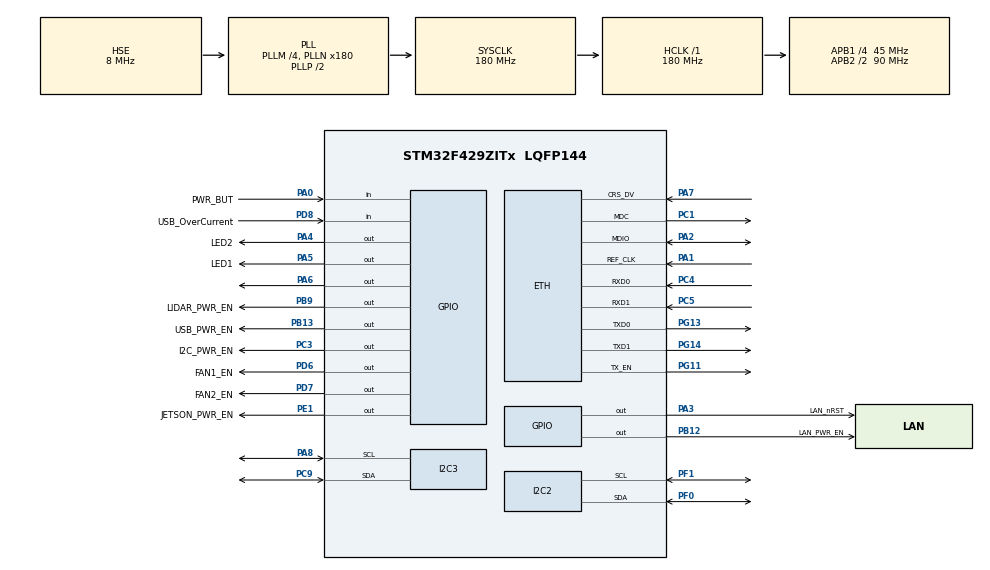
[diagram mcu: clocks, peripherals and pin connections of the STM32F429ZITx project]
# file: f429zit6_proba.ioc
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ETH.AutoNegotiation=ETH_AUTONEGOTIATION_ENABLE
ETH.MACAddr=00\:80\:E1\:01\:23\:45
ETH.MediaInterface=ETH_MEDIA_INTERFACE_RMII
ETH.PHY_Name_RMII=LAN8742A_PHY_ADDRESS
ETH.PhyAddress=0
I2C3.Analog_Filter=I2C_ANALOGFILTER_DISABLE
LWIP.GATEWAY_ADDRESS=192.168.100.001
LWIP.IP_ADDRESS=192.168.100.050
LWIP.LWIP_DHCP=0
LWIP.LWIP_HTTPD=0
LWIP.MEMP_NUM_TCP_SEG=24
LWIP.NETMASK_ADDRESS=255.255.255.000
LWIP.TCP_MSS=460
LWIP.TCP_SND_BUF=1840
LWIP.TCP_WND=2048
LWIP.Version=v2.1.2_Cube
Mcu.Family=STM32F4
Mcu.Name=STM32F429ZITx
Mcu.Package=LQFP144
NVIC.PriorityGroup=NVIC_PRIORITYGROUP_4
PA0/WKUP.GPIO_Label=PWR_BUT
PA0/WKUP.Signal=GPIO_Input
PA1.Mode=RMII
PA1.Signal=ETH_REF_CLK
PA13.Mode=Trace_Asynchronous_SW
PA13.Signal=SYS_JTMS-SWDIO
PA14.Mode=Trace_Asynchronous_SW
PA14.Signal=SYS_JTCK-SWCLK
PA2.Mode=RMII
PA2.Signal=ETH_MDIO
PA3.GPIO_Label=LAN_nRST
PA3.GPIO_ModeDefaultOutputPP=GPIO_MODE_OUTPUT_PP
PA3.GPIO_PuPd=GPIO_NOPULL
PA3.GPIO_Speed=GPIO_SPEED_FREQ_HIGH
PA3.PinState=GPIO_PIN_RESET
PA3.Signal=GPIO_Output
PA4.GPIO_Label=LED2
PA4.Signal=GPIO_Output
PA5.GPIO_Label=LED1
PA5.Signal=GPIO_Output
PA6.Signal=GPIO_Output
PA7.Mode=RMII
PA7.Signal=ETH_CRS_DV
PA8.Mode=I2C
PA8.Signal=I2C3_SCL
PB12.GPIO_Label=LAN_PWR_EN
PB12.Signal=GPIO_Output
PB13.GPIO_Label=USB_PWR_EN
PB13.Signal=GPIO_Output
PB3.Mode=Trace_Asynchronous_SW
PB3.Signal=SYS_JTDO-SWO
PB9.GPIO_Label=LIDAR_PWR_EN
PB9.Signal=GPIO_Output
PC1.Mode=RMII
PC1.Signal=ETH_MDC
PC3.GPIO_Label=I2C_PWR_EN
PC3.Signal=GPIO_Output
PC4.Mode=RMII
PC4.Signal=ETH_RXD0
PC5.Mode=RMII
PC5.Signal=ETH_RXD1
PC9.Mode=I2C
PC9.Signal=I2C3_SDA
PD6.GPIO_Label=FAN1_EN
PD6.Signal=GPIO_Output
PD7.GPIO_Label=FAN2_EN
PD7.Signal=GPIO_Output
PD8.GPIO_Label=USB_OverCurrent
PD8.GPIO_PuPd=GPIO_PULLUP
PD8.Signal=GPIO_Input
PE1.GPIO_Label=JETSON_PWR_EN
PE1.Signal=GPIO_Output
PF0.Mode=I2C
PF0.Signal=I2C2_SDA
PF1.Mode=I2C
PF1.Signal=I2C2_SCL
PG11.Mode=RMII
PG11.Signal=ETH_TX_EN
PG13.Mode=RMII
PG13.Signal=ETH_TXD0
PG14.Mode=RMII
PG14.Signal=ETH_TXD1
PH0/OSC_IN.Mode=HSE-External-Oscillator
PH0/OSC_IN.Signal=RCC_OSC_IN
PH1/OSC_OUT.Mode=HSE-External-Oscillator
PH1/OSC_OUT.Signal=RCC_OSC_OUT
ProjectManager.HeapSize=0x2000
ProjectManager.StackSize=0x4000
ProjectManager.TargetToolchain=STM32CubeIDE
RCC.48MHZClocksFreq_Value=90000000
RCC.AHBFreq_Value=180000000
RCC.APB1CLKDivider=RCC_HCLK_DIV4
RCC.APB1Freq_Value=45000000
RCC.APB1TimFreq_Value=90000000
RCC.APB2CLKDivider=RCC_HCLK_DIV2
RCC.APB2Freq_Value=90000000
RCC.APB2TimFreq_Value=180000000
RCC.CortexFreq_Value=180000000
RCC.HCLKFreq_Value=180000000
RCC.HSE_VALUE=8000000
RCC.HSI_VALUE=16000000
RCC.LSE_VALUE=32768
RCC.PLLM=4
RCC.PLLN=180
RCC.PLLSourceVirtual=RCC_PLLSOURCE_HSE
RCC.SYSCLKFreq_VALUE=180000000
RCC.SYSCLKSource=RCC_SYSCLKSOURCE_PLLCLK
RCC.VCOOutputFreq_Value=360000000
VP_LWIP_VS_Enabled.Mode=Enabled
board=custom

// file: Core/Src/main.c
/* USER CODE BEGIN Header */
/**
  ******************************************************************************
  * @file           : main.c
  * @brief          : Main program body
  ******************************************************************************
  * @attention
  *
  * <h2><center>&copy; Copyright (c) 2021 STMicroelectronics.
  * All rights reserved.</center></h2>
  *
  * This software component is licensed by ST under BSD 3-Clause license,
  * the "License"; You may not use this file except in compliance with the
  * License. You may obtain a copy of the License at:
  *                        opensource.org/licenses/BSD-3-Clause
  *
  ******************************************************************************
  */
/* USER CODE END Header */
#include "main.h"
#include "lwip.h"

/* USER CODE BEGIN Includes */
#include "lwip/apps/httpd.h"
/* USER CODE END Includes */

I2C_HandleTypeDef hi2c2;
I2C_HandleTypeDef hi2c3;

/* USER CODE BEGIN PV */

extern struct netif gnetif;

/* USER CODE END PV */

void SystemClock_Config(void);
static void MX_GPIO_Init(void);
static void MX_I2C3_Init(void);
static void MX_I2C2_Init(void);

int main(void)
{
  /* USER CODE BEGIN 1 */

	uint8_t i2c_Buf[16] = {0};

  /* USER CODE END 1 */

  /* MCU Configuration--------------------------------------------------------*/

  /* Reset of all peripherals, Initializes the Flash interface and the Systick. */
  HAL_Init();

  /* Configure the system clock */
  SystemClock_Config();

  /* Initialize all configured peripherals */
  MX_GPIO_Init();
  //MX_LWIP_Init();
  MX_I2C3_Init();
  MX_I2C2_Init();
  /* USER CODE BEGIN 2 */

  //****************************************************
  //Работа с I2C.
  //Включение питания разъемов I2C_IMU и I2C.
  HAL_GPIO_WritePin(I2C_PWR_EN_GPIO_Port, I2C_PWR_EN_Pin, SET);
  HAL_Delay(100);

  I2C_Init(I2C3); //иннициализация I2C_IMU(I2C3).
  I2C_Init(I2C2); //иннициализация I2C.
  //****************************************************
  //Работа с Ethernet.
  //Включение питания Ethernet.
  HAL_GPIO_WritePin(LAN_PWR_EN_GPIO_Port, LAN_PWR_EN_Pin, SET);
  HAL_Delay(100);

  //Сброс LAN8742A.
  HAL_GPIO_WritePin(LAN_nRST_GPIO_Port, LAN_nRST_Pin, RESET);
  HAL_Delay(500);
  HAL_GPIO_WritePin(LAN_nRST_GPIO_Port, LAN_nRST_Pin, SET);
  HAL_Delay(500);

  MX_LWIP_Init();//инициализация LwIP.
  // httpd_init();  //
  //****************************************************
  //Управление питанием JETSON.
  HAL_GPIO_WritePin(JETSON_PWR_EN_GPIO_Port, JETSON_PWR_EN_Pin, SET);

  //****************************************************
   //Управление питанием LIDAR.
   HAL_GPIO_WritePin(LIDAR_PWR_EN_GPIO_Port, LIDAR_PWR_EN_Pin, SET);

  /* USER CODE END 2 */

  /* Infinite loop */
  while (1)
  {

    /* USER CODE BEGIN 3 */
	//********************************************************************************
	HAL_Delay(50);

	//********************************************
	//
	//HAL_GPIO_TogglePin(JETSON_PWR_EN_GPIO_Port, JETSON_PWR_EN_Pin);

	//********************************************
	//проверка работы светодиодов.и
	//HAL_GPIO_TogglePin(LED2_GPIO_Port, LED2_Pin);
	HAL_GPIO_TogglePin(LED1_GPIO_Port, LED1_Pin);

	//********************************************
	//Проверка работы портов I2C.
	I2C_StartAndSendDeviceAddr(I2C3, (0x39 << 1));
	I2C_Stop(I2C3);

	I2C_StartAndSendDeviceAddr(I2C2, (0x39 << 1));
	I2C_Stop(I2C2);
	//********************************************
	//Управление вентиляторами.
	HAL_GPIO_TogglePin(FAN1_EN_GPIO_Port, FAN1_EN_Pin);
	HAL_GPIO_TogglePin(FAN2_EN_GPIO_Port, FAN2_EN_Pin);
	//********************************************
	//Управление светодиодом PWR.
	//HAL_GPIO_TogglePin(PWR_BUT_LED_GPIO_Port, PWR_BUT_LED_Pin);

	if(!HAL_GPIO_ReadPin(PWR_BUT_GPIO_Port, PWR_BUT_Pin)) HAL_GPIO_WritePin(LED2_GPIO_Port, LED2_Pin, SET);
	else 												  HAL_GPIO_WritePin(LED2_GPIO_Port, LED2_Pin, RESET);
	//****************************************************
   //Управление питанием LIDAR.
   if(Blink(INTERVAL_1000_mS)) HAL_GPIO_WritePin(LIDAR_PWR_EN_GPIO_Port, LIDAR_PWR_EN_Pin, SET);
   else						   HAL_GPIO_WritePin(LIDAR_PWR_EN_GPIO_Port, LIDAR_PWR_EN_Pin, RESET);

   //****************************************************
	//Работа с LWIP.
	MX_LWIP_Process();

	//********************************************************************************
  }
  /* USER CODE END 3 */
}

void SystemClock_Config(void)
{
  RCC_OscInitTypeDef RCC_OscInitStruct = {0};
  RCC_ClkInitTypeDef RCC_ClkInitStruct = {0};

  /** Configure the main internal regulator output voltage
  */
  __HAL_RCC_PWR_CLK_ENABLE();
  __HAL_PWR_VOLTAGESCALING_CONFIG(PWR_REGULATOR_VOLTAGE_SCALE1);
  /** Initializes the RCC Oscillators according to the specified parameters
  * in the RCC_OscInitTypeDef structure.
  */
  RCC_OscInitStruct.OscillatorType = RCC_OSCILLATORTYPE_HSE;
  RCC_OscInitStruct.HSEState = RCC_HSE_ON;
  RCC_OscInitStruct.PLL.PLLState = RCC_PLL_ON;
  RCC_OscInitStruct.PLL.PLLSource = RCC_PLLSOURCE_HSE;
  RCC_OscInitStruct.PLL.PLLM = 4;
  RCC_OscInitStruct.PLL.PLLN = 180;
  RCC_OscInitStruct.PLL.PLLP = RCC_PLLP_DIV2;
  RCC_OscInitStruct.PLL.PLLQ = 4;
  if (HAL_RCC_OscConfig(&RCC_OscInitStruct) != HAL_OK)
  {
    Error_Handler();
  }
  /** Activate the Over-Drive mode
  */
  if (HAL_PWREx_EnableOverDrive() != HAL_OK)
  {
    Error_Handler();
  }
  /** Initializes the CPU, AHB and APB buses clocks
  */
  RCC_ClkInitStruct.ClockType = RCC_CLOCKTYPE_HCLK|RCC_CLOCKTYPE_SYSCLK
                              |RCC_CLOCKTYPE_PCLK1|RCC_CLOCKTYPE_PCLK2;
  RCC_ClkInitStruct.SYSCLKSource = RCC_SYSCLKSOURCE_PLLCLK;
  RCC_ClkInitStruct.AHBCLKDivider = RCC_SYSCLK_DIV1;
  RCC_ClkInitStruct.APB1CLKDivider = RCC_HCLK_DIV4;
  RCC_ClkInitStruct.APB2CLKDivider = RCC_HCLK_DIV2;

  if (HAL_RCC_ClockConfig(&RCC_ClkInitStruct, FLASH_LATENCY_5) != HAL_OK)
  {
    Error_Handler();
  }
}

static void MX_I2C2_Init(void)
{

  hi2c2.Instance = I2C2;
  hi2c2.Init.ClockSpeed = 100000;
  hi2c2.Init.DutyCycle = I2C_DUTYCYCLE_2;
  hi2c2.Init.OwnAddress1 = 0;
  hi2c2.Init.AddressingMode = I2C_ADDRESSINGMODE_7BIT;
  hi2c2.Init.DualAddressMode = I2C_DUALADDRESS_DISABLE;
  hi2c2.Init.OwnAddress2 = 0;
  hi2c2.Init.GeneralCallMode = I2C_GENERALCALL_DISABLE;
  hi2c2.Init.NoStretchMode = I2C_NOSTRETCH_DISABLE;
  if (HAL_I2C_Init(&hi2c2) != HAL_OK)
  {
    Error_Handler();
  }
  /** Configure Analogue filter
  */
  if (HAL_I2CEx_ConfigAnalogFilter(&hi2c2, I2C_ANALOGFILTER_ENABLE) != HAL_OK)
  {
    Error_Handler();
  }
  /** Configure Digital filter
  */
  if (HAL_I2CEx_ConfigDigitalFilter(&hi2c2, 0) != HAL_OK)
  {
    Error_Handler();
  }

}

static void MX_I2C3_Init(void)
{

  hi2c3.Instance = I2C3;
  hi2c3.Init.ClockSpeed = 100000;
  hi2c3.Init.DutyCycle = I2C_DUTYCYCLE_2;
  hi2c3.Init.OwnAddress1 = 0;
  hi2c3.Init.AddressingMode = I2C_ADDRESSINGMODE_7BIT;
  hi2c3.Init.DualAddressMode = I2C_DUALADDRESS_DISABLE;
  hi2c3.Init.OwnAddress2 = 0;
  hi2c3.Init.GeneralCallMode = I2C_GENERALCALL_DISABLE;
  hi2c3.Init.NoStretchMode = I2C_NOSTRETCH_DISABLE;
  if (HAL_I2C_Init(&hi2c3) != HAL_OK)
  {
    Error_Handler();
  }
  /** Configure Analogue filter
  */
  if (HAL_I2CEx_ConfigAnalogFilter(&hi2c3, I2C_ANALOGFILTER_DISABLE) != HAL_OK)
  {
    Error_Handler();
  }
  /** Configure Digital filter
  */
  if (HAL_I2CEx_ConfigDigitalFilter(&hi2c3, 0) != HAL_OK)
  {
    Error_Handler();
  }

}

static void MX_GPIO_Init(void)
{
  GPIO_InitTypeDef GPIO_InitStruct = {0};

  /* GPIO Ports Clock Enable */
  __HAL_RCC_GPIOF_CLK_ENABLE();
  __HAL_RCC_GPIOH_CLK_ENABLE();
  __HAL_RCC_GPIOC_CLK_ENABLE();
  __HAL_RCC_GPIOA_CLK_ENABLE();
  __HAL_RCC_GPIOB_CLK_ENABLE();
  __HAL_RCC_GPIOD_CLK_ENABLE();
  __HAL_RCC_GPIOG_CLK_ENABLE();
  __HAL_RCC_GPIOE_CLK_ENABLE();

  /*Configure GPIO pin Output Level */
  HAL_GPIO_WritePin(I2C_PWR_EN_GPIO_Port, I2C_PWR_EN_Pin, GPIO_PIN_RESET);

  /*Configure GPIO pin Output Level */
  HAL_GPIO_WritePin(GPIOA, LAN_nRST_Pin|LED2_Pin|LED1_Pin|GPIO_PIN_6, GPIO_PIN_RESET);

  /*Configure GPIO pin Output Level */
  HAL_GPIO_WritePin(GPIOB, LAN_PWR_EN_Pin|USB_PWR_EN_Pin|LIDAR_PWR_EN_Pin, GPIO_PIN_RESET);

  /*Configure GPIO pin Output Level */
  HAL_GPIO_WritePin(GPIOD, FAN1_EN_Pin|FAN2_EN_Pin, GPIO_PIN_RESET);

  /*Configure GPIO pin Output Level */
  HAL_GPIO_WritePin(JETSON_PWR_EN_GPIO_Port, JETSON_PWR_EN_Pin, GPIO_PIN_RESET);

  /*Configure GPIO pin : I2C_PWR_EN_Pin */
  GPIO_InitStruct.Pin = I2C_PWR_EN_Pin;
  GPIO_InitStruct.Mode = GPIO_MODE_OUTPUT_PP;
  GPIO_InitStruct.Pull = GPIO_NOPULL;
  GPIO_InitStruct.Speed = GPIO_SPEED_FREQ_LOW;
  HAL_GPIO_Init(I2C_PWR_EN_GPIO_Port, &GPIO_InitStruct);

  /*Configure GPIO pin : PWR_BUT_Pin */
  GPIO_InitStruct.Pin = PWR_BUT_Pin;
  GPIO_InitStruct.Mode = GPIO_MODE_INPUT;
  GPIO_InitStruct.Pull = GPIO_NOPULL;
  HAL_GPIO_Init(PWR_BUT_GPIO_Port, &GPIO_InitStruct);

  /*Configure GPIO pin : LAN_nRST_Pin */
  GPIO_InitStruct.Pin = LAN_nRST_Pin;
  GPIO_InitStruct.Mode = GPIO_MODE_OUTPUT_PP;
  GPIO_InitStruct.Pull = GPIO_NOPULL;
  GPIO_InitStruct.Speed = GPIO_SPEED_FREQ_HIGH;
  HAL_GPIO_Init(LAN_nRST_GPIO_Port, &GPIO_InitStruct);

  /*Configure GPIO pins : LED2_Pin LED1_Pin PA6 */
  GPIO_InitStruct.Pin = LED2_Pin|LED1_Pin|GPIO_PIN_6;
  GPIO_InitStruct.Mode = GPIO_MODE_OUTPUT_PP;
  GPIO_InitStruct.Pull = GPIO_NOPULL;
  GPIO_InitStruct.Speed = GPIO_SPEED_FREQ_LOW;
  HAL_GPIO_Init(GPIOA, &GPIO_InitStruct);

  /*Configure GPIO pins : LAN_PWR_EN_Pin USB_PWR_EN_Pin LIDAR_PWR_EN_Pin */
  GPIO_InitStruct.Pin = LAN_PWR_EN_Pin|USB_PWR_EN_Pin|LIDAR_PWR_EN_Pin;
  GPIO_InitStruct.Mode = GPIO_MODE_OUTPUT_PP;
  GPIO_InitStruct.Pull = GPIO_NOPULL;
  GPIO_InitStruct.Speed = GPIO_SPEED_FREQ_LOW;
  HAL_GPIO_Init(GPIOB, &GPIO_InitStruct);

  /*Configure GPIO pin : USB_OverCurrent_Pin */
  GPIO_InitStruct.Pin = USB_OverCurrent_Pin;
  GPIO_InitStruct.Mode = GPIO_MODE_INPUT;
  GPIO_InitStruct.Pull = GPIO_PULLUP;
  HAL_GPIO_Init(USB_OverCurrent_GPIO_Port, &GPIO_InitStruct);

  /*Configure GPIO pins : FAN1_EN_Pin FAN2_EN_Pin */
  GPIO_InitStruct.Pin = FAN1_EN_Pin|FAN2_EN_Pin;
  GPIO_InitStruct.Mode = GPIO_MODE_OUTPUT_PP;
  GPIO_InitStruct.Pull = GPIO_NOPULL;
  GPIO_InitStruct.Speed = GPIO_SPEED_FREQ_LOW;
  HAL_GPIO_Init(GPIOD, &GPIO_InitStruct);

  /*Configure GPIO pin : JETSON_PWR_EN_Pin */
  GPIO_InitStruct.Pin = JETSON_PWR_EN_Pin;
  GPIO_InitStruct.Mode = GPIO_MODE_OUTPUT_PP;
  GPIO_InitStruct.Pull = GPIO_NOPULL;
  GPIO_InitStruct.Speed = GPIO_SPEED_FREQ_LOW;
  HAL_GPIO_Init(JETSON_PWR_EN_GPIO_Port, &GPIO_InitStruct);

}

void Error_Handler(void)
{
  __disable_irq();
  while (1)
  {
  }
}

/************************ (C) COPYRIGHT STMicroelectronics *****END OF FILE****/
